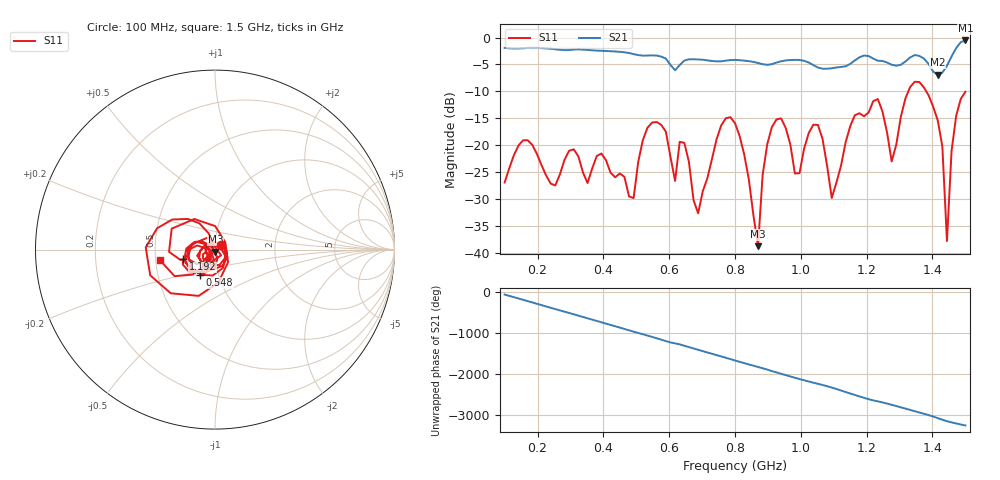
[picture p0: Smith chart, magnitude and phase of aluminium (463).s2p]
! NanoVNA-App
! Date: 2025-09-25 14:58:53
! Start: 100MHz Stop: 1,5GHz Points: 101
! S-Parameter data: F S11 S21 S12 S22
# Hz S RI R 50
!  Frequency  S11_Real  S11_Imag  S21_Real  S21_Imag  S12_Real  S12_Imag  S22_Real  S22_Imag
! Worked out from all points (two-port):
!   101 points, 100 MHz to 1.5 GHz, reference 50 ohm
!   highest |S21| = -0.54 dB at 1.5 GHz (marker M1); lowest = -6.9 dB at 1.416 GHz (marker M2)
!   |S21| within 3 dB of the highest: start of sweep to 575.6 MHz; 1.458 GHz to end of sweep (the widest 2 of 4)
!   lowest |S11| = -38.8 dB at 870 MHz (marker M3), VSWR 1.02, Z = 50.2 - j1.14 ohm
!   |S11| at or under -10 dB: start of sweep to 1.327 GHz; 1.381 GHz to end of sweep
!   S12 and S22 are empty: the file has one direction only
!   S11 on the Smith chart (normalised r, x): 100 MHz: 1.07, +0.06; 548 MHz: 0.82, -0.24; 1.192 GHz: 0.69, -0.08; 1.5 GHz: 0.53, -0.07
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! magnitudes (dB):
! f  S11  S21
! 100 MHz  -27.0  -1.9
! 156 MHz  -19.1  -2.0
! 338 MHz  -25.1  -2.2
! 492 MHz  -29.9  -3.1
! 548 MHz  -15.8  -3.3
! 576 MHz  -16.2  -3.5
! 646 MHz  -19.6  -4.3
! 688 MHz  -32.7  -4.1
! 800 MHz  -15.9  -4.2
! 870 MHz  -38.8  -4.7
! 912 MHz  -16.7  -4.9
! 982 MHz  -25.3  -4.1
! 1.038 GHz  -16.2  -5.1
! 1.094 GHz  -29.8  -5.7
! 1.192 GHz  -14.6  -3.3
! 1.234 GHz  -11.4  -4.3
! 1.276 GHz  -23.0  -5.1
! 1.346 GHz  -8.2  -3.2
! 1.416 GHz  -15.4  -6.9
! 1.444 GHz  -37.8  -5.2
! 1.458 GHz  -21.1  -3.5
! 1.5 GHz  -10.1  -0.5
